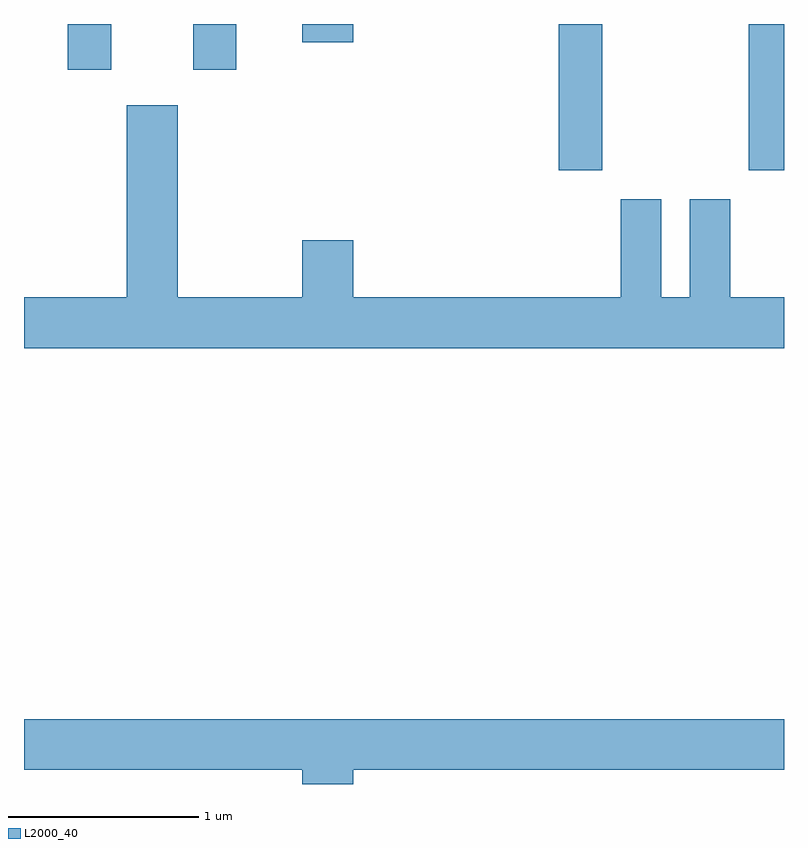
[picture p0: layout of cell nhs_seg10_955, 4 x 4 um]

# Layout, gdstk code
import gdstk
lib = gdstk.Library(unit=1e-6, precision=1e-09)
def R(c, l, rs):  # rectangles x0, y0, x1, y1
    for r in rs: c.add(gdstk.rectangle(r[:2], r[2:], *l))
def P(c, l, *ps):  # polygons
    for p in ps: c.add(gdstk.Polygon(p, *l))
L2000_40 = (2000, 40)

nhs_seg10_955 = lib.new_cell('nhs_seg10_955')
R(nhs_seg10_955, L2000_40, [(216.426,2103.751,216.654,2104.522), (217.426,2103.751,217.611,2104.522), (213.841,2104.281,214.069,2104.522), (214.501,2104.281,214.729,2104.522), (215.076,2104.426,215.344,2104.522)])
P(nhs_seg10_955, L2000_40, [(217.611,2103.084),(217.329,2103.084),(217.329,2103.599),(217.116,2103.599),(217.116,2103.084),(216.964,2103.084),(216.964,2103.599),(216.751,2103.599),(216.751,2103.084),(215.344,2103.084),(215.344,2103.384),(215.076,2103.384),(215.076,2103.084),(214.419,2103.084),(214.419,2104.094),(214.151,2104.094),(214.151,2103.084),(213.611,2103.084),(213.611,2102.816),(217.611,2102.816)],
  [(215.344,2100.596),(217.611,2100.596),(217.611,2100.864),(213.611,2100.864),(213.611,2100.596),(215.076,2100.596),(215.076,2100.522),(215.344,2100.522)])

lib.write_gds('nhs_seg10_955.gds')
